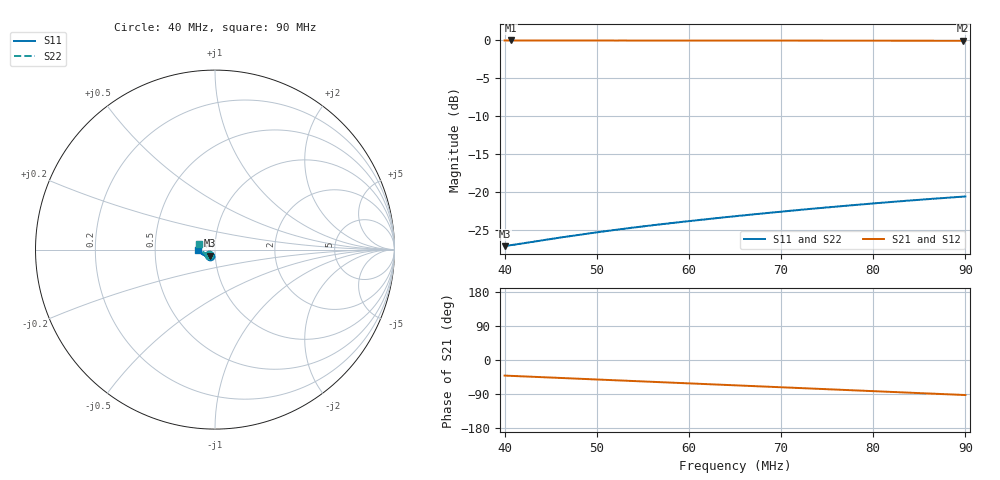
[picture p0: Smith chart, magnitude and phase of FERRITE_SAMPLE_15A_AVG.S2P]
!Agilent Technologies,E5061B,MY49102235,A.02.00
!Date: Mon Jul 03 10:58:44 2023
!Data & Calibration Information:
!Freq	S11:SOLT2(ON)	S21:SOLT2(ON)	S12:SOLT2(ON)	S22:SOLT2(ON)
# Hz S RI R 50
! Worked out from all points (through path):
!   1600 points, 40 MHz to 90 MHz, reference 50 ohm
!   highest |S21| = -0.01 dB at 40.69 MHz (marker M1); lowest = 0.0 dB at 89.78 MHz (marker M2)
!   group delay of S21, straight-line fit = 2.85 ns
!   lowest |S11| = -27.1 dB at 40 MHz (marker M3), VSWR 1.09, Z = 47.1 - j3.2 ohm
!   |S11| at or under -10 dB: start of sweep to end of sweep
!   |S22| runs from -27.3 to -20.6 dB; largest |S21 - S12| = 0.0014
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4e7  -0.0283 -0.0338  0.7525 -0.6574  0.7526 -0.6565  -0.0328 -0.0284
4.068793e7  -0.0292 -0.034  0.7446 -0.6667  0.7446 -0.6656  -0.0337 -0.0284
4.300188e7  -0.0321 -0.0345  0.7159 -0.6968  0.7161 -0.6961  -0.0372 -0.0282
4.444028e7  -0.0339 -0.0348  0.6975 -0.7148  0.6979 -0.7143  -0.0394 -0.0279
4.834897e7  -0.0391 -0.0353  0.6457 -0.7617  0.6457 -0.7612  -0.045 -0.0265
5.000625e7  -0.0415 -0.0354  0.6227 -0.7805  0.6227 -0.78  -0.0475 -0.0257
5.225766e7  -0.0445 -0.0353  0.5904 -0.805  0.5904 -0.8044  -0.0507 -0.0243
5.482176e7  -0.0479 -0.0349  0.5527 -0.8308  0.5528 -0.8305  -0.0543 -0.0225
5.666667e7  -0.0506 -0.0346  0.5249 -0.8484  0.5249 -0.8479  -0.0569 -0.0208
6.082552e7  -0.0565 -0.0329  0.4604 -0.8849  0.4603 -0.8843  -0.0621 -0.0171
6.501563e7  -0.0627 -0.0302  0.3925 -0.917  0.3929 -0.916  -0.0674 -0.0127
6.901814e7  -0.0685 -0.0268  0.3258 -0.9427  0.3263 -0.9418  -0.0722 -0.00788
7.133208e7  -0.0717 -0.0245  0.2862 -0.9553  0.2868 -0.9545  -0.0749 -0.00468
7.33646e7  -0.0746 -0.0224  0.2509 -0.965  0.2517 -0.9643  -0.0772 -0.00179
7.530331e7  -0.0773 -0.0201  0.2171 -0.9729  0.2178 -0.9724  -0.0792 0.00119
7.746091e7  -0.0799 -0.0175  0.1793 -0.9802  0.1798 -0.9797  -0.0814 0.00468
7.936836e7  -0.0824 -0.0152  0.1454 -0.9853  0.146 -0.985  -0.083 0.00811
8.16823e7  -0.0852 -0.0122  0.1045 -0.9902  0.1051 -0.9899  -0.0849 0.0124
8.362101e7  -0.0873 -0.00956  0.0699 -0.9928  0.0705 -0.9925  -0.0862 0.0161
8.596623e7  -0.0898 -0.00624  0.0285 -0.9946  0.0288 -0.9943  -0.0874 0.0208
8.978111e7  -0.0936 -0.000364  -0.0391 -0.9937  -0.0388 -0.9933  -0.089 0.0286
9e7  -0.0938 7.93e-05  -0.0427 -0.9936  -0.0426 -0.9931  -0.0891 0.0292
